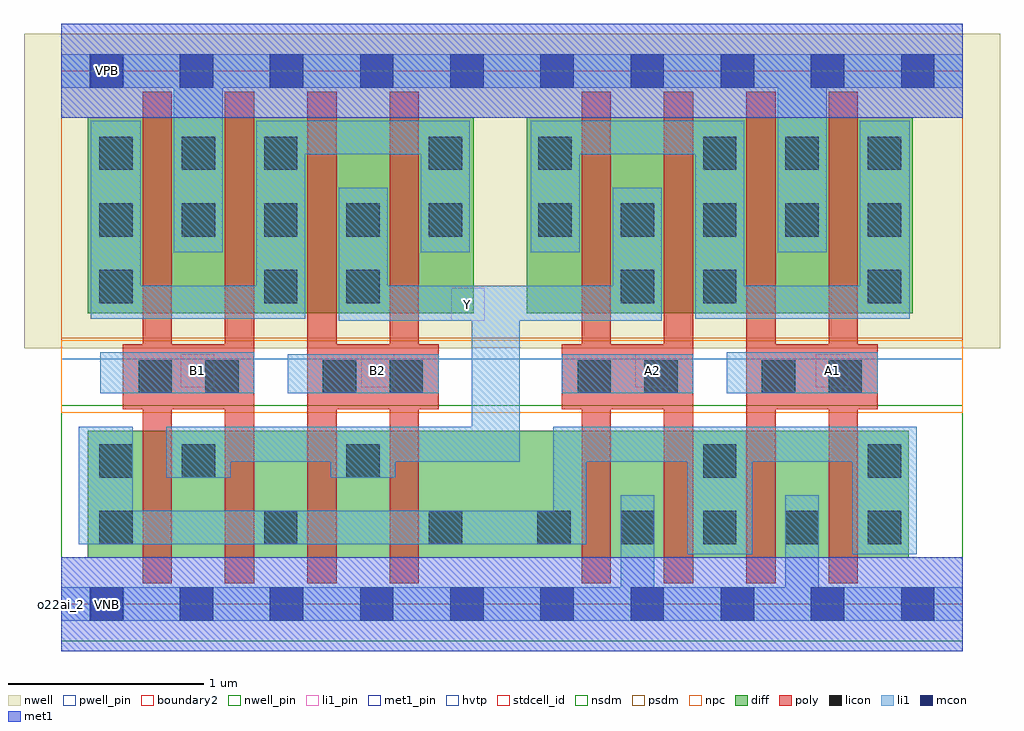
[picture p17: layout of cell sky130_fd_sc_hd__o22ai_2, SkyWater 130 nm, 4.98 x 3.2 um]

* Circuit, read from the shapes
.subckt sky130_fd_sc_hd__o22ai_2 A1 A2 B1 B2 VGND VNB VPB VPWR Y
XM1 Y B1 n1 VNB sky130_fd_pr__nfet_01v8 w=0.65 l=0.15 m=2
XM2 Y B2 n1 VNB sky130_fd_pr__nfet_01v8 w=0.65 l=0.15 m=2
XM3 VGND A2 n1 VNB sky130_fd_pr__nfet_01v8 w=0.65 l=0.15 m=2
XM4 VGND A1 n1 VNB sky130_fd_pr__nfet_01v8 w=0.65 l=0.15 m=2
XM5 VPWR B1 n2 VPB sky130_fd_pr__pfet_01v8_hvt w=1 l=0.15 m=2
XM6 Y B2 n2 VPB sky130_fd_pr__pfet_01v8_hvt w=1 l=0.15 m=2
XM7 Y A2 n3 VPB sky130_fd_pr__pfet_01v8_hvt w=1 l=0.15 m=2
XM8 VPWR A1 n3 VPB sky130_fd_pr__pfet_01v8_hvt w=1 l=0.15 m=2
.ends

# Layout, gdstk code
import gdstk
lib = gdstk.Library(unit=1e-6, precision=1e-09)
def R(c, l, rs):  # rectangles x0, y0, x1, y1
    for r in rs: c.add(gdstk.rectangle(r[:2], r[2:], *l))
def A(c, l, x, y, w, h, nx, ny, dx, dy):  # array of equal rectangles
    R(c, l, [(x+i*dx, y+j*dy, x+i*dx+w, y+j*dy+h) for i in range(nx) for j in range(ny)])
def P(c, l, *ps):  # polygons
    for p in ps: c.add(gdstk.Polygon(p, *l))
nwell_pin = (64, 16)
nwell = (64, 20)
diff = (65, 20)
poly = (66, 20)
licon = (66, 44)
li1_pin = (67, 16)
li1 = (67, 20)
mcon = (67, 44)
met1_pin = (68, 16)
met1 = (68, 20)
hvtp = (78, 44)
stdcell_id = (81, 4)
nsdm = (93, 44)
psdm = (94, 20)
npc = (95, 20)
pwell_pin = (122, 16)
boundary2 = (236, 0)

sky130_fd_sc_hd__o22ai_2 = lib.new_cell('sky130_fd_sc_hd__o22ai_2')
R(sky130_fd_sc_hd__o22ai_2, nwell_pin, [(0.15,2.635,0.32,2.805)])
R(sky130_fd_sc_hd__o22ai_2, nwell, [(-0.19,1.305,4.79,2.91)])
R(sky130_fd_sc_hd__o22ai_2, diff, [(0.135,0.235,4.325,0.885), (0.135,1.485,2.105,2.485), (2.375,1.485,4.345,2.485)])
P(sky130_fd_sc_hd__o22ai_2, poly, [(0.985,2.615),(0.835,2.615),(0.835,1.325),(0.565,1.325),(0.565,2.615),(0.415,2.615),(0.415,1.325),(0.315,1.325),(0.315,0.995),(0.415,0.995),(0.415,0.105),(0.565,0.105),(0.565,0.995),(0.835,0.995),(0.835,0.105),(0.985,0.105)],
  [(1.925,1.325),(1.825,1.325),(1.825,2.615),(1.675,2.615),(1.675,1.325),(1.405,1.325),(1.405,2.615),(1.255,2.615),(1.255,0.105),(1.405,0.105),(1.405,0.995),(1.675,0.995),(1.675,0.105),(1.825,0.105),(1.825,0.995),(1.925,0.995)],
  [(3.225,2.615),(3.075,2.615),(3.075,1.325),(2.805,1.325),(2.805,2.615),(2.655,2.615),(2.655,1.325),(2.555,1.325),(2.555,0.995),(2.655,0.995),(2.655,0.105),(2.805,0.105),(2.805,0.995),(3.075,0.995),(3.075,0.105),(3.225,0.105)],
  [(4.165,1.325),(4.065,1.325),(4.065,2.615),(3.915,2.615),(3.915,1.325),(3.645,1.325),(3.645,2.615),(3.495,2.615),(3.495,0.105),(3.645,0.105),(3.645,0.995),(3.915,0.995),(3.915,0.105),(4.065,0.105),(4.065,0.995),(4.165,0.995)])
A(sky130_fd_sc_hd__o22ai_2, licon, 0.195, 0.305, 0.17, 0.17, 3, 1, 0.84, 0)
A(sky130_fd_sc_hd__o22ai_2, licon, 2.855, 0.305, 0.17, 0.17, 4, 1, 0.42, 0)
A(sky130_fd_sc_hd__o22ai_2, licon, 0.195, 1.875, 0.17, 0.17, 5, 1, 0.42, 0)
A(sky130_fd_sc_hd__o22ai_2, licon, 2.435, 1.875, 0.17, 0.17, 5, 1, 0.42, 0)
A(sky130_fd_sc_hd__o22ai_2, licon, 0.195, 2.215, 0.17, 0.17, 3, 1, 0.42, 0)
A(sky130_fd_sc_hd__o22ai_2, licon, 3.275, 2.215, 0.17, 0.17, 3, 1, 0.42, 0)
R(sky130_fd_sc_hd__o22ai_2, licon, [(2.43,0.305,2.6,0.475), (0.195,0.645,0.365,0.815), (0.615,0.645,0.785,0.815), (1.455,0.645,1.625,0.815), (3.275,0.645,3.445,0.815), (4.115,0.645,4.285,0.815), (0.395,1.075,0.565,1.245), (0.735,1.075,0.905,1.245), (1.335,1.075,1.505,1.245), (1.675,1.075,1.845,1.245), (2.635,1.075,2.805,1.245), (2.975,1.075,3.145,1.245), (3.575,1.075,3.745,1.245), (3.915,1.075,4.085,1.245), (0.195,1.535,0.365,1.705), (1.035,1.535,1.205,1.705), (1.455,1.535,1.625,1.705), (2.855,1.535,3.025,1.705), (3.275,1.535,3.445,1.705), (4.115,1.535,4.285,1.705), (1.875,2.215,2.045,2.385), (2.435,2.215,2.605,2.385)])
R(sky130_fd_sc_hd__o22ai_2, li1_pin, [(0.61,1.105,0.78,1.275), (1.53,1.105,1.7,1.275), (2.93,1.105,3.1,1.275), (3.85,1.105,4.02,1.275), (1.99,1.445,2.16,1.615)])
R(sky130_fd_sc_hd__o22ai_2, li1, [(0.2,1.075,0.985,1.285), (1.155,1.075,1.925,1.275), (2.555,1.075,3.225,1.275), (3.395,1.075,4.165,1.285)])
P(sky130_fd_sc_hd__o22ai_2, li1, [(4.33,2.465),(4.075,2.465),(4.075,1.625),(3.485,1.625),(3.485,2.465),(2.395,2.465),(2.395,1.795),(2.645,1.795),(2.645,2.295),(3.235,2.295),(3.235,1.455),(4.33,1.455)],
  [(4.6,0.085),(3.865,0.085),(3.865,0.555),(3.695,0.555),(3.695,0.085),(3.025,0.085),(3.025,0.555),(2.855,0.555),(2.855,0.085),(0,0.085),(0,-0.085),(4.6,-0.085)],
  [(4.6,2.805),(0,2.805),(0,2.635),(0.575,2.635),(0.575,1.795),(0.825,1.795),(0.825,2.635),(3.655,2.635),(3.655,1.795),(3.905,1.795),(3.905,2.635),(4.6,2.635)],
  [(2.085,2.465),(0.995,2.465),(0.995,1.625),(0.405,1.625),(0.405,2.465),(0.15,2.465),(0.15,1.455),(1.245,1.455),(1.245,2.295),(1.835,2.295),(1.835,1.795),(2.085,1.795)],
  [(3.065,2.125),(2.815,2.125),(2.815,1.625),(1.665,1.625),(1.665,2.125),(1.415,2.125),(1.415,1.445),(2.095,1.445),(2.095,0.905),(0.535,0.905),(0.535,0.645),(0.865,0.645),(0.865,0.725),(1.375,0.725),(1.375,0.645),(1.705,0.645),(1.705,0.725),(2.34,0.725),(2.34,1.445),(3.065,1.445)],
  [(4.365,0.905),(2.51,0.905),(2.51,0.475),(0.365,0.475),(0.365,0.905),(0.09,0.905),(0.09,0.305),(2.68,0.305),(2.68,0.725),(3.195,0.725),(3.195,0.255),(3.525,0.255),(3.525,0.725),(4.035,0.725),(4.035,0.255),(4.365,0.255)])
A(sky130_fd_sc_hd__o22ai_2, mcon, 0.145, -0.085, 0.17, 0.17, 10, 2, 0.46, 2.72)
R(sky130_fd_sc_hd__o22ai_2, met1_pin, [(0.15,-0.085,0.32,0.085), (0.15,2.635,0.32,2.805)])
R(sky130_fd_sc_hd__o22ai_2, hvtp, [(0,1.25,4.6,2.72)])
R(sky130_fd_sc_hd__o22ai_2, stdcell_id, [(0,0,4.6,2.72)])
R(sky130_fd_sc_hd__o22ai_2, nsdm, [(0,-0.19,4.6,1.015)])
R(sky130_fd_sc_hd__o22ai_2, psdm, [(0,1.355,4.6,2.91)])
R(sky130_fd_sc_hd__o22ai_2, npc, [(0,0.975,4.6,1.345)])
R(sky130_fd_sc_hd__o22ai_2, pwell_pin, [(0.15,-0.085,0.32,0.085)])
R(sky130_fd_sc_hd__o22ai_2, boundary2, [(0,0,4.6,2.72)])
sky130_fd_sc_hd__o22ai_2.add(gdstk.FlexPath([(0,2.72),(4.6,2.72)], 0.48, ends="flush", simple_path=True, layer=68, datatype=20))  # met1
sky130_fd_sc_hd__o22ai_2.add(gdstk.FlexPath([(0,0),(4.6,0)], 0.48, ends="flush", simple_path=True, layer=68, datatype=20))  # met1
sky130_fd_sc_hd__o22ai_2.add(gdstk.Label('B2', (1.615,1.19), layer=67, texttype=5))
sky130_fd_sc_hd__o22ai_2.add(gdstk.Label('B1', (0.695,1.19), layer=67, texttype=5))
sky130_fd_sc_hd__o22ai_2.add(gdstk.Label('Y', (2.075,1.53), layer=67, texttype=5))
sky130_fd_sc_hd__o22ai_2.add(gdstk.Label('A1', (3.935,1.19), layer=67, texttype=5))
sky130_fd_sc_hd__o22ai_2.add(gdstk.Label('A2', (3.015,1.19), layer=67, texttype=5))
sky130_fd_sc_hd__o22ai_2.add(gdstk.Label('VPB', (0.235,2.72), layer=64, texttype=5))
sky130_fd_sc_hd__o22ai_2.add(gdstk.Label('VNB', (0.235,0), layer=64, texttype=59))
sky130_fd_sc_hd__o22ai_2.add(gdstk.Label('VGND', (0.235,0), layer=68, texttype=5))
sky130_fd_sc_hd__o22ai_2.add(gdstk.Label('VPWR', (0.235,2.72), layer=68, texttype=5))
sky130_fd_sc_hd__o22ai_2.add(gdstk.Label('o22ai_2', (0,0), layer=83, texttype=44))

lib.write_gds('sky130_fd_sc_hd__o22ai_2.gds')
